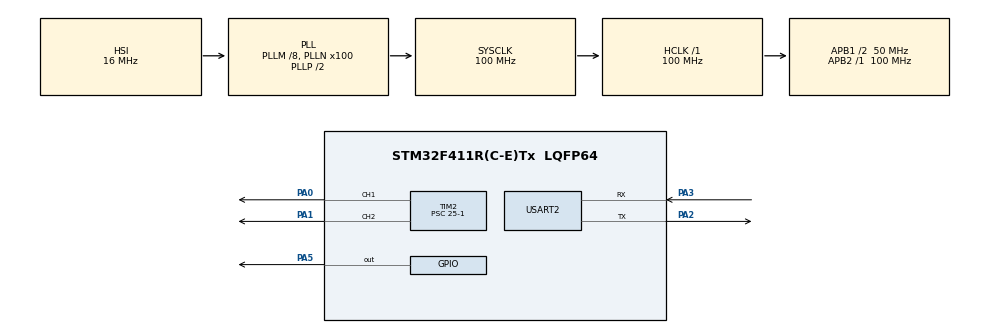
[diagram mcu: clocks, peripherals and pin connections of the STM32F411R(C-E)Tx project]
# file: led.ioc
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Dma.Request0=USART2_RX
Dma.USART2_RX.0.Direction=DMA_PERIPH_TO_MEMORY
Dma.USART2_RX.0.FIFOMode=DMA_FIFOMODE_DISABLE
Dma.USART2_RX.0.Instance=DMA1_Stream5
Dma.USART2_RX.0.MemDataAlignment=DMA_MDATAALIGN_BYTE
Dma.USART2_RX.0.MemInc=DMA_MINC_ENABLE
Dma.USART2_RX.0.Mode=DMA_NORMAL
Dma.USART2_RX.0.PeriphDataAlignment=DMA_PDATAALIGN_BYTE
Dma.USART2_RX.0.PeriphInc=DMA_PINC_DISABLE
Dma.USART2_RX.0.Priority=DMA_PRIORITY_LOW
Mcu.Family=STM32F4
Mcu.Name=STM32F411R(C-E)Tx
Mcu.Package=LQFP64
NVIC.DMA1_Stream5_IRQn=true\:0\:0\:false\:false\:true\:false\:true\:true
NVIC.PriorityGroup=NVIC_PRIORITYGROUP_4
NVIC.TIM1_UP_TIM10_IRQn=true\:0\:0\:false\:false\:true\:true\:true\:true
NVIC.USART2_IRQn=true\:0\:0\:false\:false\:true\:true\:true\:true
PA0-WKUP.Signal=S_TIM2_CH1_ETR
PA1.Signal=S_TIM2_CH2
PA13.Mode=Serial_Wire
PA13.Signal=SYS_JTMS-SWDIO
PA14.Mode=Serial_Wire
PA14.Signal=SYS_JTCK-SWCLK
PA2.Mode=Asynchronous
PA2.Signal=USART2_TX
PA3.Mode=Asynchronous
PA3.Signal=USART2_RX
PA5.GPIO_ModeDefaultOutputPP=GPIO_MODE_OUTPUT_PP
PA5.GPIO_PuPd=GPIO_NOPULL
PA5.GPIO_Speed=GPIO_SPEED_FREQ_MEDIUM
PA5.Signal=GPIO_Output
ProjectManager.HeapSize=0x200
ProjectManager.StackSize=0x400
ProjectManager.TargetToolchain=MDK-ARM V5.32
RCC.48MHZClocksFreq_Value=50000000
RCC.AHBFreq_Value=100000000
RCC.APB1CLKDivider=RCC_HCLK_DIV2
RCC.APB1Freq_Value=50000000
RCC.APB1TimFreq_Value=100000000
RCC.APB2Freq_Value=100000000
RCC.APB2TimFreq_Value=100000000
RCC.CortexFreq_Value=100000000
RCC.HCLKFreq_Value=100000000
RCC.HSE_VALUE=8000000
RCC.HSI_VALUE=16000000
RCC.LSE_VALUE=32768
RCC.PLLM=8
RCC.PLLN=100
RCC.SYSCLKFreq_VALUE=100000000
RCC.SYSCLKSource=RCC_SYSCLKSOURCE_PLLCLK
RCC.VCOOutputFreq_Value=200000000
SH.S_TIM2_CH1_ETR.0=TIM2_CH1,PWM Generation1 CH1
SH.S_TIM2_CH2.0=TIM2_CH2,PWM Generation2 CH2
TIM1.Period=1000-1
TIM1.Prescaler=100-1
TIM2.Channel-PWM\ Generation1\ CH1=TIM_CHANNEL_1
TIM2.Channel-PWM\ Generation2\ CH2=TIM_CHANNEL_2
TIM2.Period=80000-1
TIM2.Prescaler=25-1
USART2.VirtualMode=VM_ASYNC
VP_TIM1_VS_ClockSourceINT.Mode=Internal
VP_TIM2_VS_ClockSourceINT.Mode=Internal
board=custom

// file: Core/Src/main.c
/* USER CODE BEGIN Header */
/**
  ******************************************************************************
  * @file           : main.c
  * @brief          : Main program body
  ******************************************************************************
  * @attention
  *
  * Copyright (c) 2024 STMicroelectronics.
  * All rights reserved.
  *
  * This software is licensed under terms that can be found in the LICENSE file
  * in the root directory of this software component.
  * If no LICENSE file comes with this software, it is provided AS-IS.
  *
  ******************************************************************************
  */
/* USER CODE END Header */
#include "main.h"
#include "dma.h"
#include "tim.h"
#include "usart.h"
#include "gpio.h"

/* USER CODE BEGIN Includes */
#include "pwm.h"
#include "interrupt.h"
/* USER CODE END Includes */

/* USER CODE BEGIN PV */
uint8_t buf[BUF_SIZE];
/* USER CODE END PV */

void SystemClock_Config(void);

int main(void)
{

  /* MCU Configuration--------------------------------------------------------*/

  /* Reset of all peripherals, Initializes the Flash interface and the Systick. */
  HAL_Init();

  /* Configure the system clock */
  SystemClock_Config();

  /* Initialize all configured peripherals */
  MX_GPIO_Init();
  MX_DMA_Init();
  MX_TIM1_Init();
  MX_TIM2_Init();
  MX_USART2_UART_Init();
  /* USER CODE BEGIN 2 */
	__HAL_UART_ENABLE_IT(&huart2, UART_IT_IDLE);
	HAL_UART_Receive_DMA(&huart2, buf, BUF_SIZE);
  HAL_TIM_Base_Start_IT(&htim1);
	HAL_GPIO_WritePin(GPIOA, GPIO_PIN_5, GPIO_PIN_RESET);
	HAL_Delay(1);
	HAL_TIM_PWM_Start(&htim2,TIM_CHANNEL_1);
	HAL_TIM_PWM_Start(&htim2,TIM_CHANNEL_2);
	HAL_Delay(1);
	__HAL_TIM_SetCompare(&htim2, TIM_CHANNEL_1, pwm1);
	__HAL_TIM_SetCompare(&htim2, TIM_CHANNEL_2, pwm2);
	HAL_Delay(1);
  /* USER CODE END 2 */

  /* Infinite loop */
  /* USER CODE BEGIN WHILE */
  while (1)
  {
		generate_pwm();
    /* USER CODE END WHILE */

  }
}

void SystemClock_Config(void)
{
  RCC_OscInitTypeDef RCC_OscInitStruct = {0};
  RCC_ClkInitTypeDef RCC_ClkInitStruct = {0};

  /** Configure the main internal regulator output voltage
  */
  __HAL_RCC_PWR_CLK_ENABLE();
  __HAL_PWR_VOLTAGESCALING_CONFIG(PWR_REGULATOR_VOLTAGE_SCALE1);

  /** Initializes the RCC Oscillators according to the specified parameters
  * in the RCC_OscInitTypeDef structure.
  */
  RCC_OscInitStruct.OscillatorType = RCC_OSCILLATORTYPE_HSI;
  RCC_OscInitStruct.HSIState = RCC_HSI_ON;
  RCC_OscInitStruct.HSICalibrationValue = RCC_HSICALIBRATION_DEFAULT;
  RCC_OscInitStruct.PLL.PLLState = RCC_PLL_ON;
  RCC_OscInitStruct.PLL.PLLSource = RCC_PLLSOURCE_HSI;
  RCC_OscInitStruct.PLL.PLLM = 8;
  RCC_OscInitStruct.PLL.PLLN = 100;
  RCC_OscInitStruct.PLL.PLLP = RCC_PLLP_DIV2;
  RCC_OscInitStruct.PLL.PLLQ = 4;
  if (HAL_RCC_OscConfig(&RCC_OscInitStruct) != HAL_OK)
  {
    Error_Handler();
  }

  /** Initializes the CPU, AHB and APB buses clocks
  */
  RCC_ClkInitStruct.ClockType = RCC_CLOCKTYPE_HCLK|RCC_CLOCKTYPE_SYSCLK
                              |RCC_CLOCKTYPE_PCLK1|RCC_CLOCKTYPE_PCLK2;
  RCC_ClkInitStruct.SYSCLKSource = RCC_SYSCLKSOURCE_PLLCLK;
  RCC_ClkInitStruct.AHBCLKDivider = RCC_SYSCLK_DIV1;
  RCC_ClkInitStruct.APB1CLKDivider = RCC_HCLK_DIV2;
  RCC_ClkInitStruct.APB2CLKDivider = RCC_HCLK_DIV1;

  if (HAL_RCC_ClockConfig(&RCC_ClkInitStruct, FLASH_LATENCY_3) != HAL_OK)
  {
    Error_Handler();
  }
}

void Error_Handler(void)
{
  __disable_irq();
  while (1)
  {
  }
}
